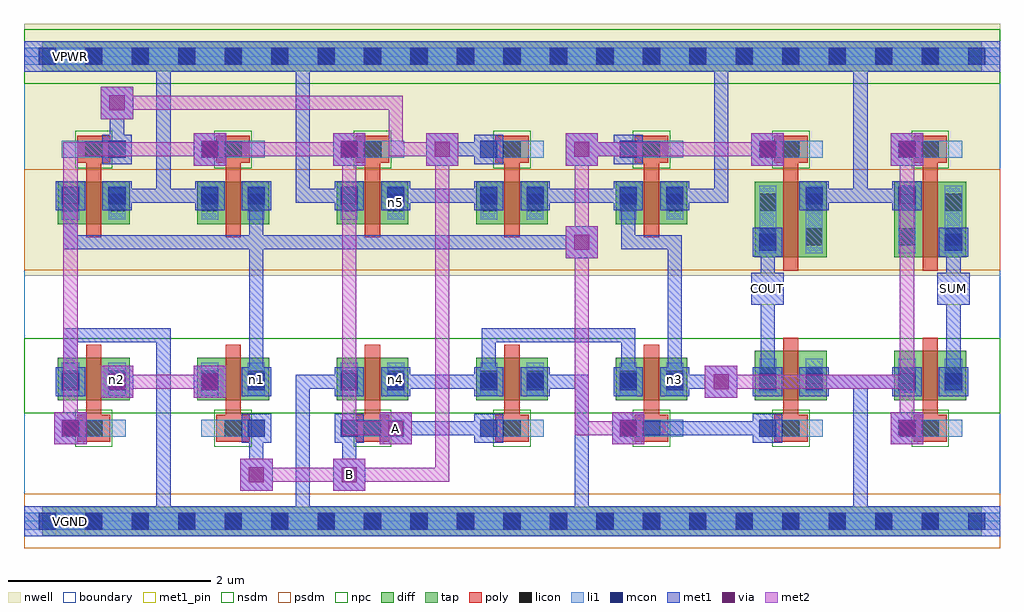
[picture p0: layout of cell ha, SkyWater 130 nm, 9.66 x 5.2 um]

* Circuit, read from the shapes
.subckt ha A B COUT SUM VGND VPWR n1 n2 n3 n4 n5
XM1 n2 A VGND VGND sky130_fd_pr__nfet_01v8 w=0.42 l=0.15
XM2 n1 B n2 VGND sky130_fd_pr__nfet_01v8 w=0.42 l=0.15
XM3 n4 B VGND VGND sky130_fd_pr__nfet_01v8 w=0.42 l=0.15
XM4 VGND A n4 VGND sky130_fd_pr__nfet_01v8 w=0.42 l=0.15
XM5 n3 n1 n4 VGND sky130_fd_pr__nfet_01v8 w=0.42 l=0.15
XM6 VGND n1 COUT VGND sky130_fd_pr__nfet_01v8 w=0.49 l=0.15
XM7 SUM n3 VGND VGND sky130_fd_pr__nfet_01v8 w=0.49 l=0.15
XM8 VPWR B n1 VPWR sky130_fd_pr__pfet_01v8 w=0.42 l=0.15
XM9 n1 A VPWR VPWR sky130_fd_pr__pfet_01v8 w=0.42 l=0.15
XM10 n5 A VPWR VPWR sky130_fd_pr__pfet_01v8 w=0.42 l=0.15
XM11 n3 B n5 VPWR sky130_fd_pr__pfet_01v8 w=0.42 l=0.15
XM12 VPWR n1 n3 VPWR sky130_fd_pr__pfet_01v8 w=0.42 l=0.15
XM13 VPWR n1 COUT VPWR sky130_fd_pr__pfet_01v8 w=0.75 l=0.15
XM14 SUM n3 VPWR VPWR sky130_fd_pr__pfet_01v8 w=0.75 l=0.15
.ends

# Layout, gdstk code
import gdstk
lib = gdstk.Library(unit=1e-6, precision=1e-09)
def R(c, l, rs):  # rectangles x0, y0, x1, y1
    for r in rs: c.add(gdstk.rectangle(r[:2], r[2:], *l))
def A(c, l, x, y, w, h, nx, ny, dx, dy):  # array of equal rectangles
    R(c, l, [(x+i*dx, y+j*dy, x+i*dx+w, y+j*dy+h) for i in range(nx) for j in range(ny)])
nwell = (64, 20)
diff = (65, 20)
tap = (65, 44)
poly = (66, 20)
licon = (66, 44)
li1 = (67, 20)
mcon = (67, 44)
met1_pin = (68, 16)
met1 = (68, 20)
via = (68, 44)
met2 = (69, 20)
nsdm = (93, 44)
psdm = (94, 20)
npc = (95, 20)
boundary = (235, 4)

c_ha = lib.new_cell('ha')
R(c_ha, nwell, [(0,2.43,9.66,4.925)])
A(c_ha, diff, 0.335, 1.195, 0.71, 0.42, 5, 2, 1.38, 1.745)
R(c_ha, diff, [(7.235,1.195,7.945,1.685), (8.615,1.195,9.325,1.685), (7.235,2.61,7.945,3.36), (8.615,2.61,9.325,3.36)])
R(c_ha, tap, [(0.18,-0.145,9.48,0.145), (0.18,4.455,9.48,4.745)])
A(c_ha, poly, 0.525, 0.785, 0.33, 0.27, 7, 2, 1.38, 2.76)
A(c_ha, poly, 0.615, 0.92, 0.15, 0.825, 5, 1, 1.38, 0)
A(c_ha, poly, 0.615, 2.81, 0.15, 0.87, 5, 1, 1.38, 0)
R(c_ha, poly, [(7.515,0.92,7.665,1.815), (8.895,0.92,9.045,1.815), (7.515,2.48,7.665,3.68), (8.895,2.48,9.045,3.68)])
A(c_ha, licon, 0.605, -0.085, 0.17, 0.17, 19, 2, 0.46, 4.6)
A(c_ha, licon, 0.605, 0.835, 0.17, 0.17, 7, 2, 1.38, 2.76)
R(c_ha, licon, [(0.375,1.32,0.545,1.49), (0.835,1.32,1.005,1.49), (1.755,1.32,1.925,1.49), (2.215,1.32,2.385,1.49), (3.135,1.32,3.305,1.49), (3.595,1.32,3.765,1.49), (4.515,1.32,4.685,1.49), (4.975,1.32,5.145,1.49), (5.895,1.32,6.065,1.49), (6.355,1.32,6.525,1.49), (7.275,1.355,7.445,1.525), (7.735,1.355,7.905,1.525), (8.655,1.355,8.825,1.525), (9.115,1.355,9.285,1.525), (7.275,2.73,7.445,2.9), (7.735,2.73,7.905,2.9), (8.655,2.73,8.825,2.9), (9.115,2.73,9.285,2.9), (0.375,3.065,0.545,3.235), (0.835,3.065,1.005,3.235), (1.755,3.065,1.925,3.235), (2.215,3.065,2.385,3.235), (3.135,3.065,3.305,3.235), (3.595,3.065,3.765,3.235), (4.515,3.065,4.685,3.235), (4.975,3.065,5.145,3.235), (5.895,3.065,6.065,3.235), (6.355,3.065,6.525,3.235), (7.275,3.07,7.445,3.24), (7.735,3.07,7.905,3.24), (8.655,3.07,8.825,3.24), (9.115,3.07,9.285,3.24)])
A(c_ha, li1, 0.375, 0.835, 0.63, 0.17, 7, 2, 1.38, 2.76)
R(c_ha, li1, [(0,-0.085,9.66,0.085), (0.375,1.24,0.545,1.57), (0.835,1.24,1.005,1.57), (1.755,1.24,1.925,1.57), (2.215,1.24,2.385,1.57), (3.135,1.24,3.305,1.57), (3.595,1.24,3.765,1.57), (4.515,1.24,4.685,1.57), (4.975,1.24,5.145,1.57), (5.895,1.24,6.065,1.57), (6.355,1.24,6.525,1.57), (7.275,1.275,7.445,1.605), (7.735,1.275,7.905,1.605), (8.655,1.275,8.825,1.605), (9.115,1.275,9.285,1.605), (7.275,2.65,7.445,3.32), (7.735,2.65,7.905,3.32), (8.655,2.65,8.825,3.32), (9.115,2.65,9.285,3.32), (0.375,2.985,0.545,3.315), (0.835,2.985,1.005,3.315), (1.755,2.985,1.925,3.315), (2.215,2.985,2.385,3.315), (3.135,2.985,3.305,3.315), (3.595,2.985,3.765,3.315), (4.515,2.985,4.685,3.315), (4.975,2.985,5.145,3.315), (5.895,2.985,6.065,3.315), (6.355,2.985,6.525,3.315), (0,4.515,9.66,4.685)])
A(c_ha, mcon, 0.145, -0.085, 0.17, 0.17, 21, 2, 0.46, 4.6)
A(c_ha, mcon, 3.135, 0.835, 0.17, 0.17, 5, 1, 1.38, 0)
A(c_ha, mcon, 1.755, 3.595, 0.17, 0.17, 6, 1, 1.38, 0)
R(c_ha, mcon, [(0.375,0.835,0.545,1.005), (2.215,0.835,2.385,1.005), (0.375,1.295,0.545,1.465), (0.835,1.295,1.005,1.465), (1.755,1.295,1.925,1.465), (2.215,1.295,2.385,1.465), (3.135,1.295,3.305,1.465), (3.595,1.295,3.765,1.465), (4.515,1.295,4.685,1.465), (4.975,1.295,5.145,1.465), (5.895,1.295,6.065,1.465), (6.355,1.295,6.525,1.465), (7.275,1.295,7.445,1.465), (7.735,1.295,7.905,1.465), (8.655,1.295,8.825,1.465), (9.115,1.295,9.285,1.465), (7.275,2.675,7.445,2.845), (9.115,2.675,9.285,2.845), (0.375,3.135,0.545,3.305), (0.835,3.135,1.005,3.305), (1.755,3.135,1.925,3.305), (2.215,3.135,2.385,3.305), (3.135,3.135,3.305,3.305), (3.595,3.135,3.765,3.305), (4.515,3.135,4.685,3.305), (4.975,3.135,5.145,3.305), (5.895,3.135,6.065,3.305), (6.355,3.135,6.525,3.305), (7.735,3.135,7.905,3.305), (8.655,3.135,8.825,3.305), (0.835,3.595,1.005,3.765)])
R(c_ha, met1_pin, [(0.315,-0.15,0.605,0.15), (3.06,0.3,3.38,0.62), (3.52,0.76,3.84,1.08), (7.2,2.14,7.52,2.46), (9.04,2.14,9.36,2.46), (0.315,4.45,0.605,4.75)])
A(c_ha, met1, 2.69, -0.07, 0.14, 1.52, 3, 1, 2.76, 0)
A(c_ha, met1, 2.69, -0.07, 0.14, 0.14, 3, 1, 2.76, 0)
A(c_ha, met1, 3.075, 0.775, 0.29, 0.29, 5, 1, 1.38, 0)
A(c_ha, met1, 4.99, 1.31, 0.6, 0.14, 3, 1, 1.38, 0)
A(c_ha, met1, 1.695, 3.535, 0.29, 0.29, 6, 1, 1.38, 0)
R(c_ha, met1, [(0,-0.15,9.66,0.15), (1.31,-0.07,1.45,1.91), (1.31,-0.07,1.45,0.07), (8.21,-0.07,8.35,1.45), (8.21,-0.07,8.35,0.07), (2.14,0.3,2.46,0.62), (3.06,0.3,3.38,0.62), (3.06,0.3,3.38,0.62), (2.23,0.39,2.37,0.99), (3.15,0.39,3.29,0.99), (0.3,0.76,0.62,1.08), (3.52,0.76,3.84,1.08), (3.52,0.76,3.84,1.08), (5.82,0.76,6.14,1.08), (8.58,0.76,8.9,1.08), (0.315,0.775,0.605,1.065), (2.155,0.775,2.445,1.065), (3.61,0.85,4.67,0.99), (5.91,0.85,7.43,0.99), (0.76,1.22,1.08,1.54), (1.68,1.22,2,1.54), (6.74,1.22,7.06,1.54), (0.315,1.235,0.605,1.525), (0.775,1.235,1.065,1.525), (1.695,1.235,1.985,1.525), (2.155,1.235,2.445,1.525), (3.075,1.235,3.365,1.525), (3.535,1.235,3.825,1.525), (4.455,1.235,4.745,1.525), (4.915,1.235,5.205,1.525), (5.835,1.235,6.125,1.525), (6.295,1.235,6.585,1.525), (7.215,1.235,7.505,1.525), (7.675,1.235,7.965,1.525), (8.595,1.235,8.885,1.525), (9.055,1.235,9.345,1.525), (0.39,1.31,0.53,1.91), (2.23,1.31,2.37,3.29), (2.69,1.31,3.29,1.45), (3.61,1.31,4.67,1.45), (4.53,1.31,4.67,1.91), (5.91,1.31,6.05,1.91), (6.37,1.31,6.51,2.83), (7.29,1.31,7.43,2.83), (8.21,1.31,8.81,1.45), (9.13,1.31,9.27,2.83), (0.39,1.77,1.45,1.91), (4.53,1.77,6.05,1.91), (7.2,2.14,7.52,2.46), (9.04,2.14,9.36,2.46), (5.36,2.6,5.68,2.92), (7.215,2.615,7.505,2.905), (9.055,2.615,9.345,2.905), (0.39,2.69,0.53,3.29), (0.39,2.69,2.37,2.83), (2.23,2.69,5.59,2.83), (5.91,2.69,6.51,2.83), (5.91,2.69,6.05,3.29), (0.315,3.075,0.605,3.365), (0.775,3.075,1.065,3.365), (1.695,3.075,1.985,3.365), (2.155,3.075,2.445,3.365), (3.075,3.075,3.365,3.365), (3.535,3.075,3.825,3.365), (4.455,3.075,4.745,3.365), (4.915,3.075,5.205,3.365), (5.835,3.075,6.125,3.365), (6.295,3.075,6.585,3.365), (7.675,3.075,7.965,3.365), (8.595,3.075,8.885,3.365), (0.85,3.15,1.45,3.29), (1.31,3.15,1.45,4.67), (1.31,3.15,1.45,4.67), (1.31,3.15,1.91,3.29), (2.69,3.15,2.83,4.67), (2.69,3.15,3.29,3.29), (3.61,3.15,4.67,3.29), (4.99,3.15,6.05,3.29), (6.37,3.15,6.97,3.29), (6.83,3.15,6.97,4.67), (7.75,3.15,8.35,3.29), (8.21,3.15,8.35,4.67), (8.21,3.15,8.35,4.67), (8.21,3.15,8.81,3.29), (1.68,3.52,2,3.84), (3.06,3.52,3.38,3.84), (3.98,3.52,4.3,3.84), (5.36,3.52,5.68,3.84), (7.2,3.52,7.52,3.84), (8.58,3.52,8.9,3.84), (0.775,3.535,1.065,3.825), (0.85,3.61,0.99,4.21), (4.07,3.61,4.67,3.75), (5.45,3.61,6.05,3.75), (0.76,3.98,1.08,4.3), (0,4.45,9.66,4.75), (1.31,4.53,1.45,4.67), (1.31,4.53,1.45,4.67), (2.69,4.53,2.83,4.67), (6.83,4.53,6.97,4.67), (8.21,4.53,8.35,4.67), (8.21,4.53,8.35,4.67)])
R(c_ha, via, [(2.225,0.385,2.375,0.535), (3.145,0.385,3.295,0.535), (0.385,0.845,0.535,0.995), (3.605,0.845,3.755,0.995), (5.905,0.845,6.055,0.995), (8.665,0.845,8.815,0.995), (0.845,1.305,0.995,1.455), (1.765,1.305,1.915,1.455), (6.825,1.305,6.975,1.455), (5.445,2.685,5.595,2.835), (1.765,3.605,1.915,3.755), (3.145,3.605,3.295,3.755), (4.065,3.605,4.215,3.755), (5.445,3.605,5.595,3.755), (7.285,3.605,7.435,3.755), (8.665,3.605,8.815,3.755), (0.845,4.065,0.995,4.215)])
R(c_ha, met2, [(2.14,0.3,2.46,0.62), (3.06,0.3,3.38,0.62), (2.23,0.39,3.29,0.53), (3.15,0.39,4.21,0.53), (4.07,0.39,4.21,3.75), (0.3,0.76,0.62,1.08), (3.52,0.76,3.84,1.08), (5.82,0.76,6.14,1.08), (8.58,0.76,8.9,1.08), (0.39,0.85,0.53,3.75), (3.15,0.85,3.29,3.75), (3.15,0.85,3.75,0.99), (5.45,0.85,6.05,0.99), (5.45,0.85,5.59,2.83), (8.67,0.85,8.81,1.45), (0.76,1.22,1.08,1.54), (1.68,1.22,2,1.54), (6.74,1.22,7.06,1.54), (0.85,1.31,1.91,1.45), (6.83,1.31,8.81,1.45), (8.67,1.31,8.81,3.75), (5.36,2.6,5.68,2.92), (5.45,2.69,5.59,3.75), (1.68,3.52,2,3.84), (3.06,3.52,3.38,3.84), (3.98,3.52,4.3,3.84), (5.36,3.52,5.68,3.84), (7.2,3.52,7.52,3.84), (8.58,3.52,8.9,3.84), (0.39,3.61,1.91,3.75), (1.77,3.61,3.29,3.75), (3.61,3.61,3.75,4.21), (3.61,3.61,4.21,3.75), (5.45,3.61,7.43,3.75), (0.76,3.98,1.08,4.3), (0.85,4.07,3.75,4.21)])
R(c_ha, nsdm, [(0,1.07,9.66,1.81), (0,4.33,9.66,4.87)])
R(c_ha, psdm, [(0,-0.27,9.66,0.27), (0,2.485,9.66,3.485)])
A(c_ha, npc, 0.505, 0.735, 0.37, 0.37, 7, 2, 1.38, 2.76)
R(c_ha, boundary, [(0,0,9.66,4.6)])
c_ha.add(gdstk.Label('n2', (0.92,1.405), layer=67, texttype=5))
c_ha.add(gdstk.Label('n1', (2.3,1.405), layer=67, texttype=5))
c_ha.add(gdstk.Label('n4', (3.68,1.405), layer=67, texttype=5))
c_ha.add(gdstk.Label('n3', (6.44,1.405), layer=67, texttype=5))
c_ha.add(gdstk.Label('n5', (3.68,3.15), layer=67, texttype=5))
c_ha.add(gdstk.Label('VPWR', (0.46,4.6), layer=68, texttype=5))
c_ha.add(gdstk.Label('VGND', (0.46,0), layer=68, texttype=5))
c_ha.add(gdstk.Label('A', (3.68,0.92), layer=68, texttype=5))
c_ha.add(gdstk.Label('B', (3.22,0.46), layer=68, texttype=5))
c_ha.add(gdstk.Label('COUT', (7.36,2.3), layer=68, texttype=5))
c_ha.add(gdstk.Label('SUM', (9.2,2.3), layer=68, texttype=5))
c_ha.add(gdstk.Label('VPWR', (0.46,4.6), layer=68, texttype=16))
c_ha.add(gdstk.Label('VGND', (0.46,0), layer=68, texttype=16))
c_ha.add(gdstk.Label('A', (3.68,0.92), layer=68, texttype=16))
c_ha.add(gdstk.Label('B', (3.22,0.46), layer=68, texttype=16))
c_ha.add(gdstk.Label('COUT', (7.36,2.3), layer=68, texttype=16))
c_ha.add(gdstk.Label('SUM', (9.2,2.3), layer=68, texttype=16))

lib.write_gds('ha.gds')
